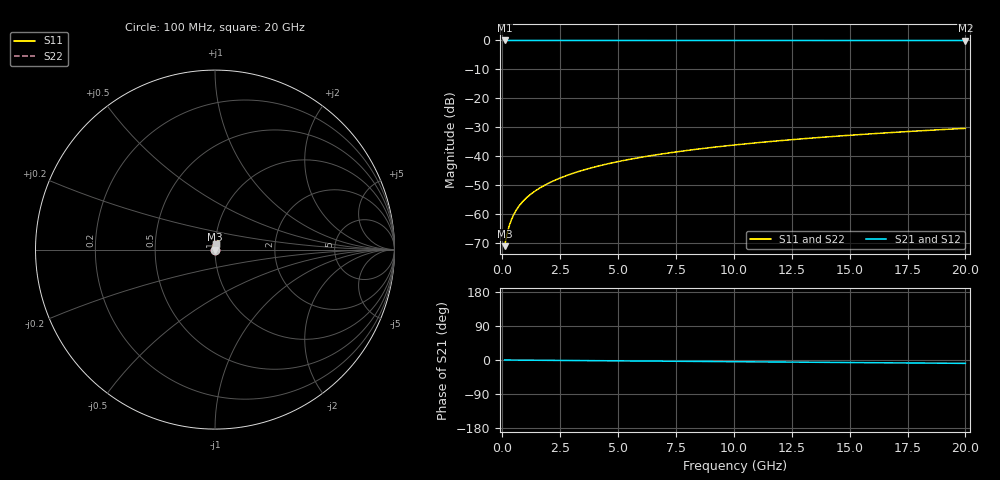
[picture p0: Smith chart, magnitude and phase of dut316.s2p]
! Touchstone file exported from HFSS 2026.1.0
!  File:  C:/ffzhzh/LocalFiles/Ansys_Project_Files/temp_train_TSV_316_1783018244_53980.aedt
!  Generated:  02:52:50 AM Jul  3, 2026
!  Design:  TSV
!  Project:  temp_train_TSV_316_1783018244_53980
! Variables:
!  h_bsmrdl = 2um
!  h_ox = 20um
!  h_rdl = 5um
!  h_sub = 88.12um
!  h_tmrdl = 5um
!  h_tsv = 88.12um
!  h_via = 3um
!  l_bsmrdl = 300um
!  l_sub = 415.84um
!  l_tmrdl = 200um
!  m_sub = 200um
!  pitch = 41.17um
!  r_tsv = 7.92um
!  s_tmrdl = 10um
!  w_bsmrdl = 18um
!  w_sub = 500um
!  w_tmrdl = 12um
!  x_tsv_center1 = 206um
!  x_tsv_center2 = 524um
!  x_tsv_center3 = 736um
!  x_tsv_center4 = 1054um
!  x_tsv_center5 = 1266um
!  x_tsv_center6 = 1584um
# GHz S MA R 50.000000
! Terminal data exported
! Port[1] = TSV1_1_T1
! Port[2] = TSV1_1_T2
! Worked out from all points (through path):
!   200 points, 100 MHz to 20 GHz, reference 50 ohm
!   highest |S21| = 0.00 dB at 100 MHz (marker M1); lowest = 0.0 dB at 20 GHz (marker M2)
!   group delay of S21, straight-line fit = 1.23 ps
!   lowest |S11| = -71.0 dB at 100 MHz (marker M3), VSWR 1.00, Z = 50 + j0.02 ohm
!   |S11| at or under -10 dB: start of sweep to end of sweep
!   |S22| runs from -71.0 to -30.3 dB; largest |S21 - S12| = 4.1e-15
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0.1  0.0002812 45.3  0.9998 -0.0  0.9998 -0.0  0.0002812 45.3
! Gamma 0 0 0 0
! Port Impedance 50 0 50 0
0.2  0.0004492 62.2  0.9998 -0.1  0.9998 -0.1  0.0004492 62.2
0.3  0.0006329 68.9  0.9998 -0.1  0.9998 -0.1  0.0006329 68.9
0.4  0.0008176 72.1  0.9998 -0.2  0.9998 -0.2  0.0008176 72.1
0.5  0.0009993 73.9  0.9997 -0.2  0.9997 -0.2  0.0009993 73.9
0.6  0.001177 75.0  0.9997 -0.3  0.9997 -0.3  0.001177 75.0
0.7  0.00135 75.8  0.9997 -0.3  0.9997 -0.3  0.00135 75.8
0.8  0.001519 76.4  0.9997 -0.4  0.9997 -0.4  0.001519 76.4
1  0.00185 77.4  0.9996 -0.5  0.9996 -0.5  0.00185 77.4
1.4  0.002492 78.7  0.9995 -0.6  0.9995 -0.6  0.002492 78.7
1.7  0.002966 79.5  0.9995 -0.8  0.9995 -0.8  0.002966 79.5
2  0.003439 80.1  0.9995 -0.9  0.9995 -0.9  0.003439 80.1
2.7  0.004538 81.1  0.9994 -1.2  0.9994 -1.2  0.004538 81.1
3.5  0.005788 81.6  0.9993 -1.6  0.9993 -1.6  0.005788 81.6
4.2  0.006874 81.9  0.9992 -1.9  0.9992 -1.9  0.006874 81.9
5  0.008106 82.0  0.9991 -2.2  0.9991 -2.2  0.008106 82.0
6.8  0.01085 81.9  0.999 -3.0  0.999 -3.0  0.01085 81.9
8.3  0.01311 81.6  0.9988 -3.7  0.9988 -3.7  0.01311 81.6
10.1  0.01581 81.2  0.9987 -4.5  0.9987 -4.5  0.01581 81.2
13.4  0.02072 80.3  0.9984 -6.0  0.9984 -6.0  0.02072 80.3
16.7  0.02559 79.2  0.9982 -7.4  0.9982 -7.4  0.02559 79.2
20  0.0304 78.0  0.9979 -8.9  0.9979 -8.9  0.0304 78.0
